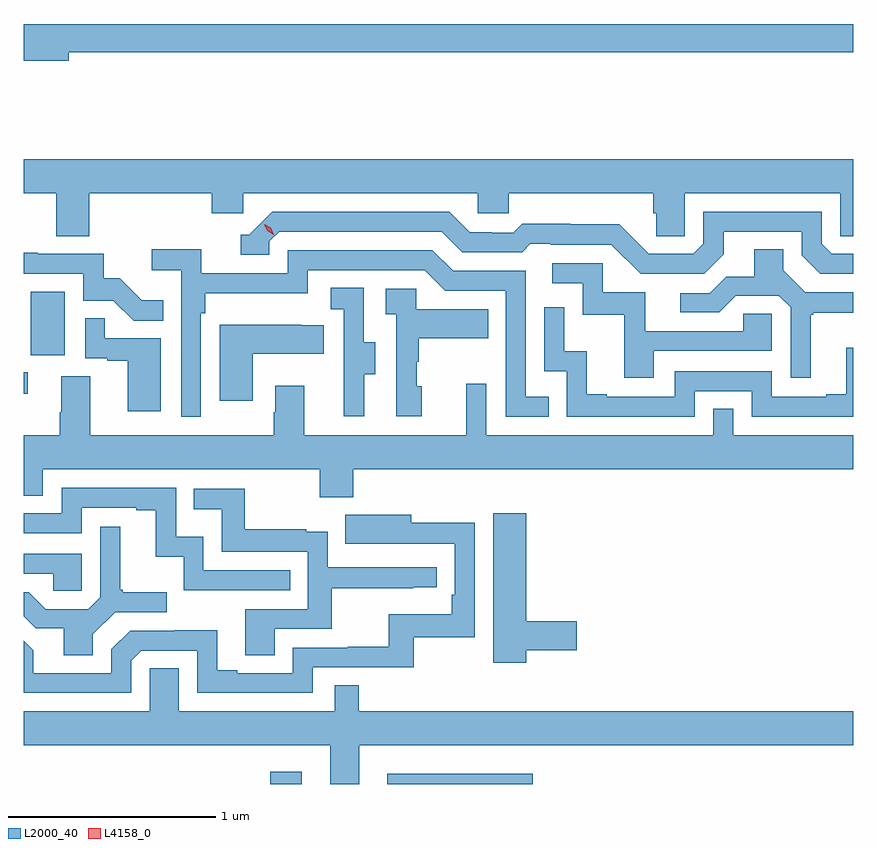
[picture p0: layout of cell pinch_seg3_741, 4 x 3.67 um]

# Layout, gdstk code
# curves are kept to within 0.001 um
import gdstk
lib = gdstk.Library(unit=1e-6, precision=1e-09)
def R(c, l, rs):  # rectangles x0, y0, x1, y1
    for r in rs: c.add(gdstk.rectangle(r[:2], r[2:], *l))
def P(c, l, *ps):  # polygons
    for p in ps: c.add(gdstk.Polygon(p, *l))
L2000_40 = (2000, 40)
L4158_0 = (4158, 0)

pinch_seg3_741 = lib.new_cell('pinch_seg3_741')
R(pinch_seg3_741, L2000_40, [(854.897,738.026,855.049,738.085), (855.461,738.026,856.162,738.076), (853.708,739.908,853.726,740.013), (853.742,740.094,853.906,740.401)])
P(pinch_seg3_741, L2000_40, [(853.924,741.556),(857.708,741.556),(857.708,741.692),(853.708,741.692),(853.708,741.514),(853.924,741.514)],
  [(854.024,740.876),(854.615,740.876),(854.615,740.778),(854.766,740.778),(854.766,740.876),(855.897,740.876),(855.897,740.778),(856.047,740.778),(856.047,740.876),(856.745,740.876),(856.745,740.778),(856.759,740.778),(856.759,740.668),(856.896,740.668),(856.896,740.876),(857.646,740.876),(857.646,740.668),(857.708,740.668),(857.708,741.04),(853.708,741.04),(853.708,740.876),(853.864,740.876),(853.864,740.668),(854.024,740.668)],
  [(857.083,740.581),(857.083,740.691),(857.46,740.691),(857.46,740.577),(857.55,740.487),(857.708,740.487),(857.708,740.583),(857.604,740.583),(857.556,740.631),(857.556,740.787),(856.986,740.787),(856.986,740.631),(856.938,740.583),(856.722,740.583),(856.58,740.725),(856.344,740.725),(856.344,740.728),(856.111,740.728),(856.069,740.685),(855.966,740.685),(855.966,740.688),(855.859,740.688),(855.76,740.787),(854.907,740.787),(854.796,740.676),(854.753,740.676),(854.753,740.58),(854.892,740.58),(854.892,740.643),(854.94,740.691),(855.723,740.691),(855.822,740.592),(856.111,740.592),(856.15,740.631),(856.249,740.631),(856.249,740.628),(856.542,740.628),(856.683,740.487),(856.989,740.487)],
  [(854.562,740.297),(854.582,740.297),(854.582,740.393),(855.078,740.393),(855.078,740.505),(855.642,740.505),(855.741,740.406),(856.032,740.406),(856.032,739.797),(856.241,739.797),(856.241,739.893),(856.128,739.893),(856.128,740.502),(855.778,740.502),(855.679,740.601),(854.982,740.601),(854.982,740.49),(854.564,740.49),(854.564,740.606),(854.325,740.606),(854.325,740.504),(854.466,740.504),(854.466,739.797),(854.562,739.797)],
  [(857.503,740.289),(857.515,740.289),(857.515,740.3),(857.708,740.3),(857.708,740.397),(857.478,740.397),(857.371,740.504),(857.371,740.606),(857.231,740.606),(857.231,740.474),(857.096,740.474),(857.016,740.394),(856.875,740.394),(856.875,740.301),(857.062,740.301),(857.143,740.382),(857.349,740.382),(857.406,740.325),(857.406,739.986),(857.503,739.986)],
  [(854.381,740.359),(854.277,740.359),(854.17,740.466),(854.094,740.466),(854.094,740.583),(853.775,740.583),(853.775,740.588),(853.708,740.588),(853.708,740.487),(853.995,740.487),(853.995,740.358),(854.139,740.358),(854.237,740.26),(854.381,740.26)],
  [(856.747,740.115),(857.316,740.115),(857.316,740.295),(857.179,740.295),(857.179,740.211),(856.705,740.211),(856.705,740.397),(856.5,740.397),(856.5,740.538),(856.257,740.538),(856.257,740.442),(856.404,740.442),(856.404,740.289),(856.603,740.289),(856.603,739.986),(856.747,739.986)],
  [(855.349,740.002),(855.403,740.002),(855.403,740.157),(855.348,740.157),(855.348,740.42),(855.189,740.42),(855.189,740.317),(855.252,740.317),(855.252,740.013),(855.251,740.013),(855.251,739.8),(855.349,739.8)],
  [(855.628,739.944),(855.603,739.944),(855.603,740.063),(855.613,740.063),(855.613,740.177),(855.947,740.177),(855.947,740.317),(855.6,740.317),(855.6,740.415),(855.453,740.415),(855.453,740.291),(855.504,740.291),(855.504,739.8),(855.628,739.8)],
  [(856.944,739.92),(857.22,739.92),(857.22,739.797),(857.708,739.797),(857.708,740.131),(857.675,740.131),(857.675,739.906),(857.579,739.906),(857.579,739.893),(857.316,739.893),(857.316,740.016),(856.848,740.016),(856.848,739.893),(856.519,739.893),(856.519,739.906),(856.424,739.906),(856.424,740.114),(856.314,740.114),(856.314,740.326),(856.218,740.326),(856.218,740.016),(856.326,740.016),(856.326,739.797),(856.944,739.797)],
  [(854.368,740.175),(854.099,740.175),(854.099,740.273),(854.004,740.273),(854.004,740.079),(854.111,740.079),(854.111,740.067),(854.21,740.067),(854.21,739.824),(854.368,739.824)],
  [(854.812,740.102),(855.155,740.102),(855.155,740.239),(855.047,740.239),(855.047,740.242),(854.654,740.242),(854.654,739.875),(854.812,739.875)],
  [(855.296,739.544),(857.708,739.544),(857.708,739.708),(857.13,739.708),(857.13,739.835),(857.034,739.835),(857.034,739.708),(855.939,739.708),(855.939,739.957),(855.842,739.957),(855.842,739.708),(855.061,739.708),(855.061,739.948),(854.921,739.948),(854.921,739.82),(854.914,739.82),(854.914,739.708),(854.029,739.708),(854.029,739.994),(853.889,739.994),(853.889,739.82),(853.882,739.82),(853.882,739.708),(853.708,739.708),(853.708,739.417),(853.8,739.417),(853.8,739.544),(855.136,739.544),(855.136,739.409),(855.296,739.409)],
  [(854.993,739.056),(854.574,739.056),(854.574,739.219),(854.442,739.219),(854.442,739.455),(853.89,739.455),(853.89,739.332),(853.708,739.332),(853.708,739.236),(853.986,739.236),(853.986,739.359),(854.249,739.359),(854.249,739.347),(854.345,739.347),(854.345,739.121),(854.478,739.121),(854.478,738.96),(854.993,738.96)],
  [(854.917,738.774),(855.194,738.774),(855.194,738.97),(855.587,738.97),(855.587,738.975),(855.7,738.975),(855.7,739.071),(855.174,739.071),(855.174,739.243),(855.071,739.243),(855.071,739.255),(854.773,739.255),(854.773,739.449),(854.527,739.449),(854.527,739.352),(854.662,739.352),(854.662,739.146),(855.078,739.146),(855.078,738.87),(854.777,738.87),(854.777,738.646),(854.917,738.646)],
  [(856.132,738.67),(856.375,738.67),(856.375,738.812),(856.132,738.812),(856.132,739.333),(855.971,739.333),(855.971,738.612),(856.132,738.612)],
  [(854.226,738.621),(854.274,738.669),(854.544,738.669),(854.544,738.465),(855.102,738.465),(855.102,738.588),(855.589,738.588),(855.589,738.735),(855.882,738.735),(855.882,739.286),(855.577,739.286),(855.577,739.324),(855.259,739.324),(855.259,739.184),(855.786,739.185),(855.786,738.94),(855.773,738.94),(855.773,738.844),(855.468,738.844),(855.468,738.689),(855.271,738.689),(855.271,738.684),(855.006,738.684),(855.006,738.561),(854.737,738.561),(854.737,738.574),(854.641,738.574),(854.641,738.767),(854.436,738.767),(854.436,738.765),(854.22,738.765),(854.13,738.675),(854.13,738.561),(853.753,738.561),(853.753,738.671),(853.708,738.716),(853.708,738.465),(854.226,738.465)],
  [(854.041,738.748),(854.148,738.855),(854.398,738.855),(854.398,738.952),(854.185,738.952),(854.185,738.964),(854.173,738.964),(854.173,739.267),(854.076,739.267),(854.076,738.927),(854.019,738.87),(853.813,738.87),(853.732,738.951),(853.708,738.951),(853.708,738.836),(853.766,738.778),(853.901,738.778),(853.901,738.646),(854.041,738.646)],
  [(853.986,739.137),(853.708,739.137),(853.708,739.041),(853.849,739.041),(853.849,738.957),(853.986,738.957)],
  [(855.325,738.212),(857.708,738.212),(857.708,738.376),(855.323,738.376),(855.323,738.503),(855.207,738.503),(855.207,738.376),(854.455,738.376),(854.455,738.584),(854.316,738.584),(854.316,738.376),(853.708,738.376),(853.708,738.212),(855.185,738.212),(855.185,738.026),(855.325,738.026)])
P(pinch_seg3_741, L4158_0, [(854.914,740.675),(854.883,740.695),(854.867,740.727),(854.867,740.727),(854.867,740.727),(854.898,740.708),(854.914,740.676),(854.914,740.675)])

lib.write_gds('pinch_seg3_741.gds')
